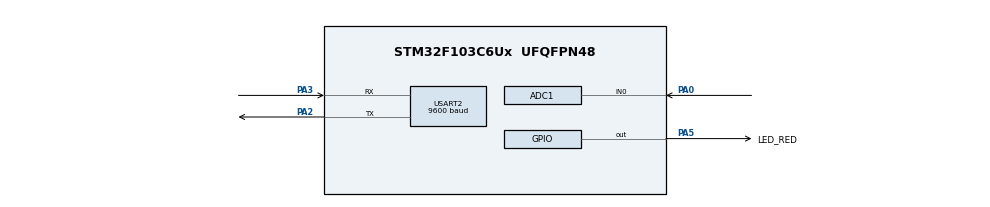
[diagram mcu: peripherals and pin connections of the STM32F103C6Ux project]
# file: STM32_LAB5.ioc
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ADC1.Channel-0\#ChannelRegularConversion=ADC_CHANNEL_0
ADC1.ContinuousConvMode=ENABLE
ADC1.NbrOfConversionFlag=1
ADC1.Rank-0\#ChannelRegularConversion=1
ADC1.SamplingTime-0\#ChannelRegularConversion=ADC_SAMPLETIME_1CYCLE_5
ADC1.master=1
Mcu.Family=STM32F1
Mcu.Name=STM32F103C6Ux
Mcu.Package=UFQFPN48
NVIC.PriorityGroup=NVIC_PRIORITYGROUP_4
NVIC.TIM2_IRQn=true\:0\:0\:false\:false\:true\:true\:true
NVIC.USART2_IRQn=true\:0\:0\:false\:false\:true\:true\:true
PA0-WKUP.Signal=ADCx_IN0
PA2.Mode=Asynchronous
PA2.Signal=USART2_TX
PA3.Mode=Asynchronous
PA3.Signal=USART2_RX
PA5.GPIO_Label=LED_RED
PA5.Signal=GPIO_Output
ProjectManager.HeapSize=0x200
ProjectManager.StackSize=0x400
ProjectManager.TargetToolchain=STM32CubeIDE
RCC.APB1Freq_Value=8000000
RCC.APB2Freq_Value=8000000
SH.ADCx_IN0.0=ADC1_IN0,IN0
TIM2.Period=9
TIM2.Prescaler=7999
USART2.BaudRate=9600
USART2.VirtualMode=VM_ASYNC
VP_SYS_VS_ND.Mode=No_Debug
VP_TIM2_VS_ClockSourceINT.Mode=Internal
board=custom

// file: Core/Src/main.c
/* USER CODE BEGIN Header */
/**
  ******************************************************************************
  * @file           : main.c
  * @brief          : Main program body
  ******************************************************************************
  * @attention
  *
  * <h2><center>&copy; Copyright (c) 2023 STMicroelectronics.
  * All rights reserved.</center></h2>
  *
  * This software component is licensed by ST under BSD 3-Clause license,
  * the "License"; You may not use this file except in compliance with the
  * License. You may obtain a copy of the License at:
  *                        opensource.org/licenses/BSD-3-Clause
  *
  ******************************************************************************
  */
/* USER CODE END Header */
#include "main.h"

/* USER CODE BEGIN Includes */
#include "global.h"
#include "fsm_uart.h"
#include <stdio.h>
#include "software_timer.h"
/* USER CODE END Includes */

ADC_HandleTypeDef hadc1;
TIM_HandleTypeDef htim2;
UART_HandleTypeDef huart2;

enum UART_STATE 	uartState = UART_IDLE;
enum CMD_STATE		cmdState = CMD_IDLE;
enum ERROR_STATE	errState = ERROR_IDLE;

uint8_t flagForOK = 0;

int waitTimerCounter = 0;
int waitTimer_flag = 0;

int isRST = 0;
int isOK = 0;

void SystemClock_Config(void);
static void MX_GPIO_Init(void);
static void MX_ADC1_Init(void);
static void MX_TIM2_Init(void);
static void MX_USART2_UART_Init(void);

/* USER CODE BEGIN 0 */
uint8_t cmdBuffer[CMD_CONTENT_MAX_LENGTH];
uint8_t buffer_flag = 0;
uint8_t cmd_content_index = 0;
uint8_t tempValue = 0;
void HAL_UART_RxCpltCallback(UART_HandleTypeDef *huart) {
	if(huart->Instance == USART2){
		HAL_UART_Transmit(&huart2, &tempValue, 1, 50);
		cmd_content_index ++;
		cmdBuffer[cmd_content_index] = tempValue;
		buffer_flag = 1;
		if(cmd_content_index >= CMD_CONTENT_MAX_LENGTH){
			cmd_content_index = 0 ;
		}
		HAL_UART_Receive_IT(&huart2, &tempValue, 1);
	}
}
/* USER CODE END 0 */

int main(void)
{

  /* MCU Configuration--------------------------------------------------------*/

  /* Reset of all peripherals, Initializes the Flash interface and the Systick. */
  HAL_Init();

  /* Configure the system clock */
  SystemClock_Config();

  /* Initialize all configured peripherals */
  MX_GPIO_Init();
  MX_ADC1_Init();
  MX_TIM2_Init();
  MX_USART2_UART_Init();
  /* USER CODE BEGIN 2 */
  //char response[RESPONSE_LENGTH];
  HAL_TIM_Base_Start_IT(&htim2);
  HAL_UART_Receive_IT (&huart2, &tempValue, 1);
  HAL_ADC_Start(&hadc1);

  char welcome[50];
  HAL_UART_Transmit(&huart2, (void *)welcome, sprintf(welcome, "STARTING STM32 UART LAB5\r\n"), 50);
  settimer2(500);
  /* USER CODE END 2 */

  /* Infinite loop */
  /* USER CODE BEGIN WHILE */
  //char response[50];
  while (1)
  {
    /* USER CODE END WHILE */
	  if(timer2_flag==1)
	  {
		  settimer2(500);
		  HAL_GPIO_TogglePin(LED_RED_GPIO_Port, LED_RED_Pin);
	  }
	  if(buffer_flag == 1)
	  {
		  command_parser_fsm();
		  buffer_flag = 0;
	  }
	  uart_communiation_fsm();

  }
}

void SystemClock_Config(void)
{
  RCC_OscInitTypeDef RCC_OscInitStruct = {0};
  RCC_ClkInitTypeDef RCC_ClkInitStruct = {0};
  RCC_PeriphCLKInitTypeDef PeriphClkInit = {0};

  /** Initializes the RCC Oscillators according to the specified parameters
  * in the RCC_OscInitTypeDef structure.
  */
  RCC_OscInitStruct.OscillatorType = RCC_OSCILLATORTYPE_HSI;
  RCC_OscInitStruct.HSIState = RCC_HSI_ON;
  RCC_OscInitStruct.HSICalibrationValue = RCC_HSICALIBRATION_DEFAULT;
  RCC_OscInitStruct.PLL.PLLState = RCC_PLL_NONE;
  if (HAL_RCC_OscConfig(&RCC_OscInitStruct) != HAL_OK)
  {
    Error_Handler();
  }
  /** Initializes the CPU, AHB and APB buses clocks
  */
  RCC_ClkInitStruct.ClockType = RCC_CLOCKTYPE_HCLK|RCC_CLOCKTYPE_SYSCLK
                              |RCC_CLOCKTYPE_PCLK1|RCC_CLOCKTYPE_PCLK2;
  RCC_ClkInitStruct.SYSCLKSource = RCC_SYSCLKSOURCE_HSI;
  RCC_ClkInitStruct.AHBCLKDivider = RCC_SYSCLK_DIV1;
  RCC_ClkInitStruct.APB1CLKDivider = RCC_HCLK_DIV1;
  RCC_ClkInitStruct.APB2CLKDivider = RCC_HCLK_DIV1;

  if (HAL_RCC_ClockConfig(&RCC_ClkInitStruct, FLASH_LATENCY_0) != HAL_OK)
  {
    Error_Handler();
  }
  PeriphClkInit.PeriphClockSelection = RCC_PERIPHCLK_ADC;
  PeriphClkInit.AdcClockSelection = RCC_ADCPCLK2_DIV2;
  if (HAL_RCCEx_PeriphCLKConfig(&PeriphClkInit) != HAL_OK)
  {
    Error_Handler();
  }
}

static void MX_ADC1_Init(void)
{

  ADC_ChannelConfTypeDef sConfig = {0};

  /** Common config
  */
  hadc1.Instance = ADC1;
  hadc1.Init.ScanConvMode = ADC_SCAN_DISABLE;
  hadc1.Init.ContinuousConvMode = ENABLE;
  hadc1.Init.DiscontinuousConvMode = DISABLE;
  hadc1.Init.ExternalTrigConv = ADC_SOFTWARE_START;
  hadc1.Init.DataAlign = ADC_DATAALIGN_RIGHT;
  hadc1.Init.NbrOfConversion = 1;
  if (HAL_ADC_Init(&hadc1) != HAL_OK)
  {
    Error_Handler();
  }
  /** Configure Regular Channel
  */
  sConfig.Channel = ADC_CHANNEL_0;
  sConfig.Rank = ADC_REGULAR_RANK_1;
  sConfig.SamplingTime = ADC_SAMPLETIME_1CYCLE_5;
  if (HAL_ADC_ConfigChannel(&hadc1, &sConfig) != HAL_OK)
  {
    Error_Handler();
  }

}

static void MX_TIM2_Init(void)
{

  TIM_ClockConfigTypeDef sClockSourceConfig = {0};
  TIM_MasterConfigTypeDef sMasterConfig = {0};

  htim2.Instance = TIM2;
  htim2.Init.Prescaler = 7999;
  htim2.Init.CounterMode = TIM_COUNTERMODE_UP;
  htim2.Init.Period = 9;
  htim2.Init.ClockDivision = TIM_CLOCKDIVISION_DIV1;
  htim2.Init.AutoReloadPreload = TIM_AUTORELOAD_PRELOAD_DISABLE;
  if (HAL_TIM_Base_Init(&htim2) != HAL_OK)
  {
    Error_Handler();
  }
  sClockSourceConfig.ClockSource = TIM_CLOCKSOURCE_INTERNAL;
  if (HAL_TIM_ConfigClockSource(&htim2, &sClockSourceConfig) != HAL_OK)
  {
    Error_Handler();
  }
  sMasterConfig.MasterOutputTrigger = TIM_TRGO_RESET;
  sMasterConfig.MasterSlaveMode = TIM_MASTERSLAVEMODE_DISABLE;
  if (HAL_TIMEx_MasterConfigSynchronization(&htim2, &sMasterConfig) != HAL_OK)
  {
    Error_Handler();
  }

}

static void MX_USART2_UART_Init(void)
{

  huart2.Instance = USART2;
  huart2.Init.BaudRate = 9600;
  huart2.Init.WordLength = UART_WORDLENGTH_8B;
  huart2.Init.StopBits = UART_STOPBITS_1;
  huart2.Init.Parity = UART_PARITY_NONE;
  huart2.Init.Mode = UART_MODE_TX_RX;
  huart2.Init.HwFlowCtl = UART_HWCONTROL_NONE;
  huart2.Init.OverSampling = UART_OVERSAMPLING_16;
  if (HAL_UART_Init(&huart2) != HAL_OK)
  {
    Error_Handler();
  }

}

static void MX_GPIO_Init(void)
{
  GPIO_InitTypeDef GPIO_InitStruct = {0};

  /* GPIO Ports Clock Enable */
  __HAL_RCC_GPIOA_CLK_ENABLE();

  /*Configure GPIO pin Output Level */
  HAL_GPIO_WritePin(LED_RED_GPIO_Port, LED_RED_Pin, GPIO_PIN_RESET);

  /*Configure GPIO pin : LED_RED_Pin */
  GPIO_InitStruct.Pin = LED_RED_Pin;
  GPIO_InitStruct.Mode = GPIO_MODE_OUTPUT_PP;
  GPIO_InitStruct.Pull = GPIO_NOPULL;
  GPIO_InitStruct.Speed = GPIO_SPEED_FREQ_LOW;
  HAL_GPIO_Init(LED_RED_GPIO_Port, &GPIO_InitStruct);

}

/* USER CODE BEGIN 4 */
void HAL_TIM_PeriodElapsedCallback (TIM_HandleTypeDef * htim) {
	timerrun();
}

/* USER CODE END 4 */

void Error_Handler(void)
{
  __disable_irq();
  while (1)
  {
  }
}

/************************ (C) COPYRIGHT STMicroelectronics *****END OF FILE****/
